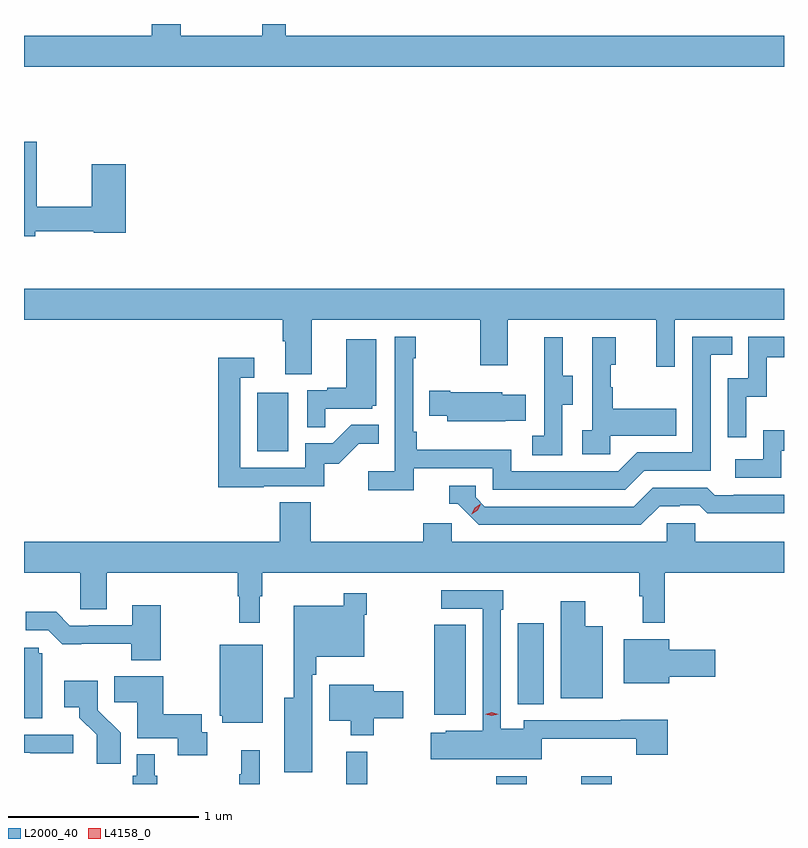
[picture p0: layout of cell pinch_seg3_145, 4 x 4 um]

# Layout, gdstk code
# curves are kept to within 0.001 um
import gdstk
lib = gdstk.Library(unit=1e-6, precision=1e-09)
def R(c, l, rs):  # rectangles x0, y0, x1, y1
    for r in rs: c.add(gdstk.rectangle(r[:2], r[2:], *l))
def P(c, l, *ps):  # polygons
    for p in ps: c.add(gdstk.Polygon(p, *l))
L2000_40 = (2000, 40)
L4158_0 = (4158, 0)

pinch_seg3_145 = lib.new_cell('pinch_seg3_145')
R(pinch_seg3_145, L2000_40, [(1101.962,723.781,1102.072,723.952), (1102.751,723.781,1102.911,723.823), (1103.2,723.781,1103.36,723.823), (1102.424,724.145,1102.591,724.619), (1102.865,724.201,1103.002,724.627), (1101.494,725.532,1101.658,725.839)])
P(pinch_seg3_145, L2000_40, [(1104.266,727.72),(1101.643,727.72),(1101.643,727.781),(1101.521,727.781),(1101.521,727.72),(1101.091,727.72),(1101.091,727.781),(1100.939,727.781),(1100.939,727.72),(1100.266,727.72),(1100.266,727.556),(1104.266,727.556)],
  [(1100.326,726.69),(1100.634,726.69),(1100.634,726.682),(1100.801,726.682),(1100.801,727.042),(1100.623,727.042),(1100.623,726.818),(1100.334,726.818),(1100.334,727.162),(1100.266,727.162),(1100.266,726.663),(1100.326,726.663)],
  [(1101.781,726.224),(1102.666,726.224),(1102.666,725.985),(1102.813,725.985),(1102.813,726.224),(1103.594,726.224),(1103.594,725.976),(1103.691,725.976),(1103.691,726.224),(1104.266,726.224),(1104.266,726.388),(1100.266,726.388),(1100.266,726.224),(1101.629,726.224),(1101.629,726.112),(1101.641,726.112),(1101.641,725.938),(1101.781,725.938)],
  [(1102.316,725.442),(1102.734,725.442),(1102.734,725.331),(1103.431,725.331),(1103.53,725.43),(1103.88,725.43),(1103.88,726.039),(1103.993,726.039),(1103.993,726.135),(1103.784,726.135),(1103.784,725.526),(1103.493,725.526),(1103.394,725.427),(1102.83,725.427),(1102.83,725.539),(1102.334,725.539),(1102.334,725.635),(1102.314,725.635),(1102.314,726.023),(1102.327,726.023),(1102.327,726.136),(1102.218,726.136),(1102.218,725.428),(1102.077,725.428),(1102.077,725.326),(1102.316,725.326)],
  [(1104.066,725.819),(1104.176,725.819),(1104.176,726.027),(1104.266,726.027),(1104.266,726.135),(1104.078,726.135),(1104.078,725.916),(1103.97,725.916),(1103.97,725.607),(1104.066,725.607)],
  [(1103.1,725.776),(1103.155,725.776),(1103.155,725.931),(1103.101,725.931),(1103.101,726.133),(1103.003,726.133),(1103.003,725.919),(1103.004,725.919),(1103.004,725.615),(1102.941,725.615),(1102.941,725.512),(1103.1,725.512)],
  [(1103.352,725.615),(1103.699,725.615),(1103.699,725.755),(1103.365,725.755),(1103.365,725.87),(1103.355,725.87),(1103.355,725.988),(1103.38,725.988),(1103.38,726.133),(1103.256,726.133),(1103.256,725.642),(1103.205,725.642),(1103.205,725.517),(1103.352,725.517)],
  [(1101.851,725.757),(1102.098,725.757),(1102.098,725.772),(1102.12,725.772),(1102.12,726.121),(1101.962,726.121),(1101.962,725.866),(1101.863,725.866),(1101.863,725.853),(1101.756,725.853),(1101.756,725.659),(1101.851,725.659)],
  [(1101.527,725.349),(1101.846,725.349),(1101.846,725.466),(1101.922,725.466),(1102.029,725.573),(1102.133,725.573),(1102.133,725.672),(1101.989,725.672),(1101.891,725.574),(1101.747,725.574),(1101.747,725.445),(1101.405,725.445),(1101.405,725.919),(1101.478,725.919),(1101.478,726.025),(1101.289,726.025),(1101.289,725.344),(1101.527,725.344)],
  [(1102.799,725.693),(1102.907,725.693),(1102.907,725.83),(1102.782,725.83),(1102.782,725.842),(1102.51,725.842),(1102.51,725.85),(1102.399,725.85),(1102.399,725.72),(1102.493,725.72),(1102.493,725.69),(1102.799,725.69)],
  [(1104.252,725.535),(1104.266,725.535),(1104.266,725.644),(1104.156,725.644),(1104.156,725.49),(1104.009,725.49),(1104.009,725.394),(1104.252,725.394)],
  [(1103.611,725.244),(1103.718,725.244),(1103.718,725.247),(1103.821,725.247),(1103.863,725.205),(1104.096,725.205),(1104.096,725.207),(1104.266,725.207),(1104.266,725.304),(1104.001,725.304),(1104.001,725.301),(1103.902,725.301),(1103.863,725.34),(1103.574,725.34),(1103.475,725.241),(1102.692,725.241),(1102.644,725.289),(1102.644,725.352),(1102.505,725.352),(1102.505,725.256),(1102.548,725.256),(1102.659,725.145),(1103.512,725.145)],
  [(1101.508,724.769),(1101.52,724.769),(1101.52,724.892),(1103.503,724.892),(1103.503,724.769),(1103.522,724.769),(1103.522,724.629),(1103.639,724.629),(1103.639,724.892),(1104.266,724.892),(1104.266,725.056),(1103.799,725.056),(1103.799,725.154),(1103.649,725.154),(1103.649,725.056),(1102.518,725.056),(1102.518,725.154),(1102.367,725.154),(1102.367,725.056),(1101.776,725.056),(1101.776,725.264),(1101.611,725.264),(1101.611,725.056),(1100.266,725.056),(1100.266,724.892),(1100.562,724.892),(1100.562,724.702),(1100.701,724.702),(1100.701,724.892),(1101.391,724.892),(1101.391,724.769),(1101.399,724.769),(1101.399,724.629),(1101.508,724.629)],
  [(1102.992,724.019),(1103.489,724.019),(1103.489,723.936),(1103.654,723.936),(1103.654,724.118),(1103.407,724.118),(1103.407,724.116),(1102.896,724.116),(1102.896,724.072),(1102.776,724.072),(1102.776,724.697),(1102.789,724.697),(1102.789,724.8),(1102.461,724.8),(1102.461,724.704),(1102.68,724.704),(1102.68,724.06),(1102.485,724.06),(1102.485,724.051),(1102.406,724.051),(1102.406,723.911),(1102.992,723.911)],
  [(1101.784,724.355),(1101.803,724.355),(1101.803,724.451),(1102.056,724.451),(1102.056,724.673),(1102.069,724.673),(1102.069,724.786),(1101.948,724.786),(1101.948,724.72),(1101.686,724.72),(1101.686,724.234),(1101.635,724.234),(1101.635,723.842),(1101.784,723.842)],
  [(1103.311,724.612),(1103.22,724.612),(1103.22,724.744),(1103.09,724.744),(1103.09,724.232),(1103.311,724.232)],
  [(1100.985,724.723),(1100.837,724.723),(1100.837,724.617),(1100.608,724.617),(1100.608,724.614),(1100.508,724.614),(1100.435,724.687),(1100.274,724.687),(1100.274,724.59),(1100.394,724.59),(1100.467,724.517),(1100.83,724.518),(1100.83,724.433),(1100.985,724.433)],
  [(1103.662,724.346),(1103.905,724.346),(1103.905,724.488),(1103.662,724.488),(1103.662,724.543),(1103.423,724.543),(1103.423,724.31),(1103.662,724.31)],
  [(1101.523,724.513),(1101.296,724.513),(1101.296,724.14),(1101.309,724.14),(1101.309,724.103),(1101.523,724.103)],
  [(1100.362,724.47),(1100.343,724.47),(1100.343,724.497),(1100.266,724.497),(1100.266,724.126),(1100.362,724.126)],
  [(1101.231,724.054),(1101.202,724.054),(1101.202,724.148),(1100.998,724.148),(1100.998,724.348),(1100.74,724.348),(1100.74,724.21),(1100.861,724.21),(1100.861,724.022),(1101.074,724.022),(1101.074,723.932),(1101.231,723.932)],
  [(1100.774,724.05),(1100.655,724.169),(1100.655,724.324),(1100.478,724.324),(1100.478,724.184),(1100.558,724.184),(1100.558,724.129),(1100.649,724.039),(1100.649,723.888),(1100.774,723.888)],
  [(1102.108,724.126),(1102.261,724.126),(1102.261,724.268),(1102.108,724.268),(1102.108,724.303),(1101.872,724.303),(1101.872,724.115),(1101.986,724.115),(1101.986,724.037),(1102.108,724.037)],
  [(1100.524,724.041),(1100.266,724.041),(1100.266,723.945),(1100.299,723.945),(1100.299,723.943),(1100.524,723.943)],
  [(1101.507,723.958),(1101.41,723.958),(1101.41,723.833),(1101.399,723.833),(1101.399,723.781),(1101.507,723.781)],
  [(1100.968,723.825),(1100.955,723.825),(1100.955,723.937),(1100.859,723.937),(1100.859,723.825),(1100.839,723.825),(1100.839,723.781),(1100.968,723.781)])
P(pinch_seg3_145, L4158_0, [(1102.728,724.139),(1102.694,724.149),(1102.693,724.149),(1102.694,724.149),(1102.728,724.159),(1102.763,724.149),(1102.763,724.149),(1102.763,724.149)],
  [(1102.622,725.202),(1102.622,725.202),(1102.638,725.235),(1102.668,725.254),(1102.669,725.254),(1102.669,725.254),(1102.653,725.221),(1102.622,725.202)])

lib.write_gds('pinch_seg3_145.gds')
